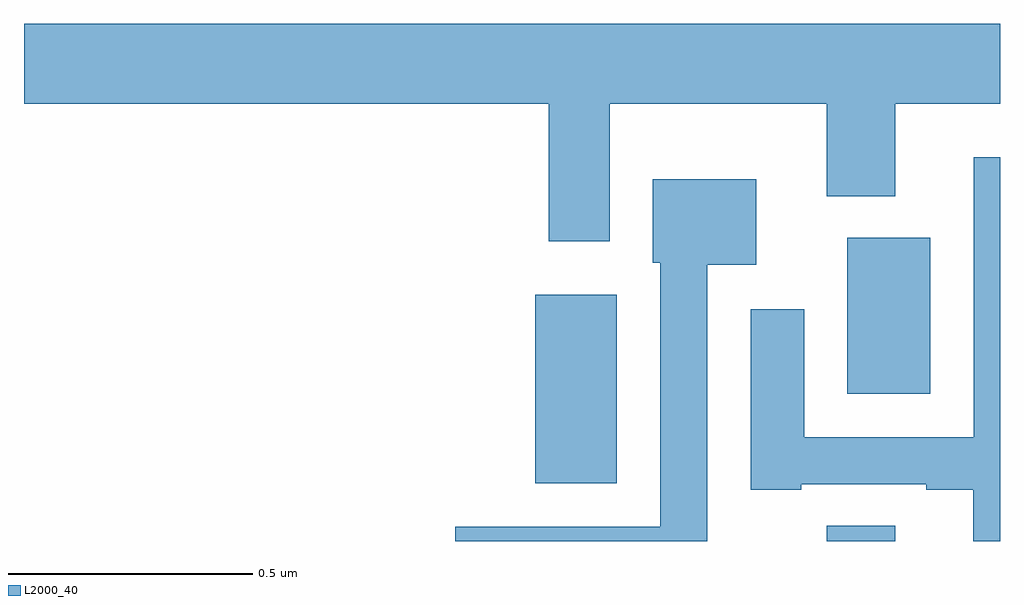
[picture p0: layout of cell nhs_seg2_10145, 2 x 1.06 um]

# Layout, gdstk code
import gdstk
lib = gdstk.Library(unit=1e-6, precision=1e-09)
def R(c, l, rs):  # rectangles x0, y0, x1, y1
    for r in rs: c.add(gdstk.rectangle(r[:2], r[2:], *l))
def P(c, l, *ps):  # polygons
    for p in ps: c.add(gdstk.Polygon(p, *l))
L2000_40 = (2000, 40)

nhs_seg2_10145 = lib.new_cell('nhs_seg2_10145')
R(nhs_seg2_10145, L2000_40, [(239.645,586.8,239.785,586.832), (239.048,586.919,239.215,587.305), (239.687,587.102,239.857,587.422)])
P(nhs_seg2_10145, L2000_40, [(239.2,587.696),(239.645,587.696),(239.645,587.507),(239.785,587.507),(239.785,587.696),(240,587.696),(240,587.86),(238,587.86),(238,587.696),(239.075,587.696),(239.075,587.415),(239.2,587.415)],
  [(240,587.587),(239.946,587.587),(239.946,587.013),(239.599,587.013),(239.599,587.275),(239.489,587.275),(239.489,586.905),(239.593,586.905),(239.593,586.917),(239.849,586.917),(239.849,586.905),(239.945,586.905),(239.945,586.8),(240,586.8)],
  [(239.4,587.366),(239.5,587.366),(239.5,587.542),(239.288,587.542),(239.288,587.37),(239.304,587.37),(239.304,586.83),(238.884,586.83),(238.884,586.8),(239.4,586.8)])

lib.write_gds('nhs_seg2_10145.gds')
